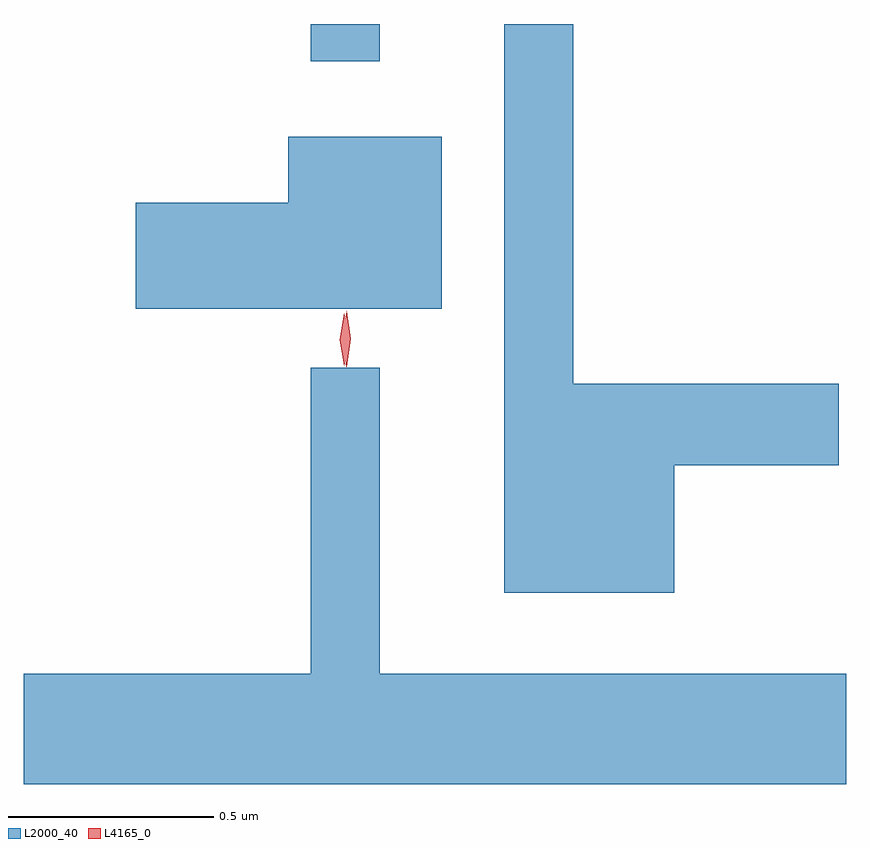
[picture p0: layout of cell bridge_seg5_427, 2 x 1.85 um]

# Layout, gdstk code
import gdstk
lib = gdstk.Library(unit=1e-6, precision=1e-09)
def R(c, l, rs):  # rectangles x0, y0, x1, y1
    for r in rs: c.add(gdstk.rectangle(r[:2], r[2:], *l))
def P(c, l, *ps):  # polygons
    for p in ps: c.add(gdstk.Polygon(p, *l))
L2000_40 = (2000, 40)
L4165_0 = (4165, 0)

bridge_seg5_427 = lib.new_cell('bridge_seg5_427')
R(bridge_seg5_427, L2000_40, [(480.271,1529.593,480.439,1529.683)])
P(bridge_seg5_427, L2000_40, [(481.154,1528.611),(481.554,1528.611),(481.554,1528.809),(480.909,1528.809),(480.909,1529.683),(480.741,1529.683),(480.741,1528.301),(481.154,1528.301)],
  [(480.589,1529.409),(480.216,1529.409),(480.216,1529.249),(479.846,1529.249),(479.846,1528.991),(480.589,1528.991)],
  [(481.573,1528.104),(480.439,1528.104),(480.439,1528.848),(480.271,1528.848),(480.271,1528.104),(479.573,1528.104),(479.573,1527.836),(481.573,1527.836)])
P(bridge_seg5_427, L4165_0, [(480.352,1528.853),(480.352,1528.853),(480.342,1528.916),(480.352,1528.98),(480.352,1528.98),(480.353,1528.98),(480.362,1528.916),(480.353,1528.853)],
  [(480.357,1528.85),(480.357,1528.85),(480.348,1528.918),(480.358,1528.985),(480.359,1528.986),(480.359,1528.985),(480.368,1528.918),(480.358,1528.85)])

lib.write_gds('bridge_seg5_427.gds')
